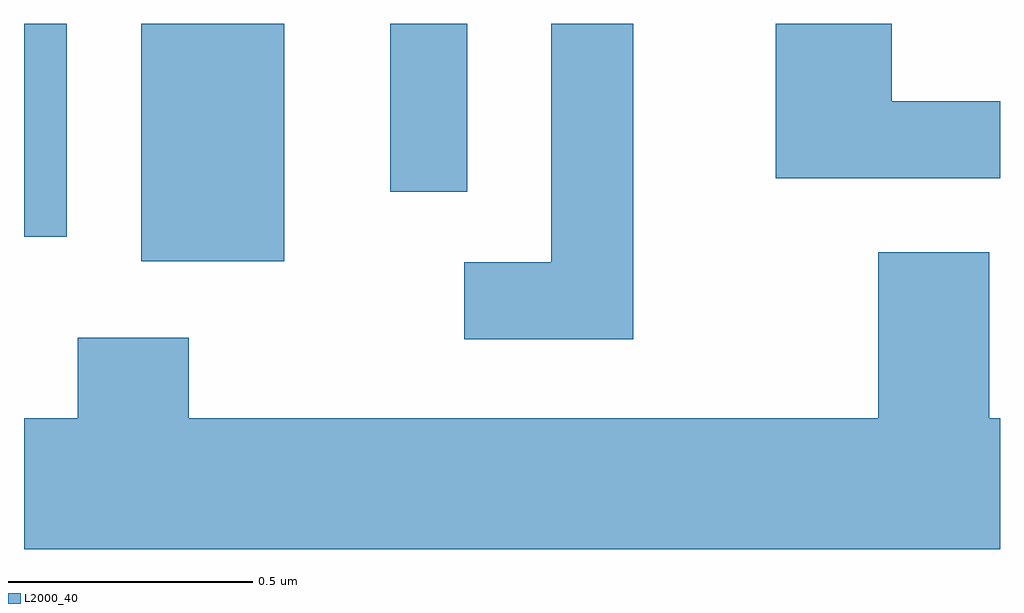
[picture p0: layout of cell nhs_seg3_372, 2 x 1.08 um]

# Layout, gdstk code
import gdstk
lib = gdstk.Library(unit=1e-6, precision=1e-09)
def R(c, l, rs):  # rectangles x0, y0, x1, y1
    for r in rs: c.add(gdstk.rectangle(r[:2], r[2:], *l))
def P(c, l, *ps):  # polygons
    for p in ps: c.add(gdstk.Polygon(p, *l))
L2000_40 = (2000, 40)

nhs_seg3_372 = lib.new_cell('nhs_seg3_372')
R(nhs_seg3_372, L2000_40, [(187.851,1215.406,188.144,1215.892), (187.611,1215.456,187.699,1215.892), (188.361,1215.548,188.519,1215.892)])
P(nhs_seg3_372, L2000_40, [(188.859,1215.892),(188.691,1215.892),(188.691,1215.404),(188.513,1215.404),(188.513,1215.246),(188.859,1215.246)],
  [(189.611,1215.734),(189.389,1215.734),(189.389,1215.892),(189.151,1215.892),(189.151,1215.576),(189.611,1215.576)],
  [(189.611,1215.084),(189.589,1215.084),(189.589,1215.424),(189.361,1215.424),(189.361,1215.084),(187.949,1215.084),(187.949,1215.249),(187.721,1215.249),(187.721,1215.084),(187.611,1215.084),(187.611,1214.816),(189.611,1214.816)])

lib.write_gds('nhs_seg3_372.gds')
